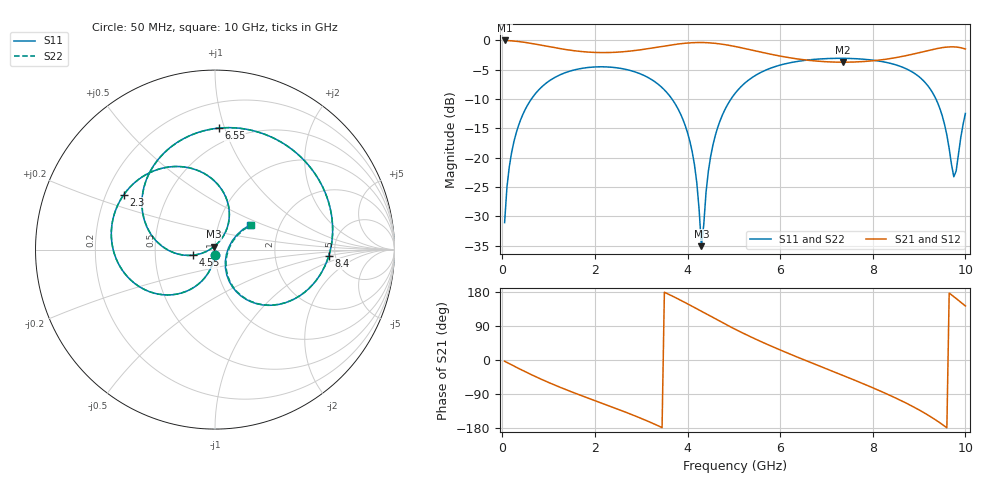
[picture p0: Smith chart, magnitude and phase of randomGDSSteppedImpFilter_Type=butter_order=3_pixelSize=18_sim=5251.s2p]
! freq	dB(S11)	phase(S11)	dB(S12)	phase(S12)
!  dB(S21)	phase(S21)	dB(S22)	phase(S22)
!S-par simulation data
#  GHz  S  DB  R 50
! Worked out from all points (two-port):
!   200 points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, 50 MHz to 10 GHz, reference 50 ohm
!   highest |S21| = -0.01 dB at 50 MHz (marker M1); lowest = -3.7 dB at 7.35 GHz (marker M2)
!   |S21| within 3 dB of the highest: start of sweep to 6.247 GHz; 8.444 GHz to end of sweep
!   lowest |S11| = -35.1 dB at 4.3 GHz (marker M3), VSWR 1.04, Z = 49.4 + j1.65 ohm
!   |S11| at or under -10 dB: start of sweep to 627.7 MHz; 3.665 GHz to 4.938 GHz (1.273 GHz wide, 29.6 % of centre); 9.364 GHz to end of sweep
!   |S22| runs from -35.0 to -3.1 dB; largest |S21 - S12| = 0
!   S11 on the Smith chart (normalised r, x): 50 MHz: 1.00, -0.06; 2.3 GHz: 0.27, +0.26; 4.55 GHz: 0.78, -0.05; 6.55 GHz: 0.38, +0.96; 8.4 GHz: 4.41, -0.52; 10 GHz: 1.41, +0.41
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0.05  -31.03 -93.3  -0.01 -3.2  -0.01 -3.2  -31.03 -93.3
0.2  -19.16 -103.1  -0.07 -12.7  -0.07 -12.7  -19.16 -103.1
0.5  -11.69 -121.7  -0.35 -31.2  -0.35 -31.2  -11.69 -121.7
1.05  -6.71 -152.4  -1.13 -61.9  -1.13 -61.9  -6.71 -152.5
1.75  -4.72 173.7  -1.93 -95.9  -1.93 -95.9  -4.72 173.7
2.3  -4.54 148.9  -2.07 -120.8  -2.07 -120.8  -4.54 148.8
3.4  -7.69 95.4  -1.08 -175.5  -1.08 -175.5  -7.69 95.3
4.05  -17.17 60.7  -0.42 145.0  -0.42 145.0  -17.17 60.6
4.2  -24.25 59.8  -0.37 135.2  -0.37 135.2  -24.25 59.7
4.3  -35.06 109.4  -0.36 128.6  -0.36 128.6  -35.05 109.3
4.55  -17.77 -165.8  -0.46 112.0  -0.46 112.0  -17.77 -166.0
5.05  -8.80 167.2  -1.07 79.9  -1.07 79.9  -8.80 167.0
5.75  -4.86 128.3  -2.28 39.7  -2.28 39.7  -4.86 128.2
6.55  -3.38 88.2  -3.34 -1.2  -3.34 -1.2  -3.39 88.1
6.7  -3.26 81.0  -3.46 -8.6  -3.46 -8.6  -3.26 80.8
7.35  -3.05 49.7  -3.71 -40.4  -3.71 -40.4  -3.05 49.5
8.35  -3.85 -0.5  -3.13 -92.1  -3.13 -92.1  -3.85 -0.6
8.4  -3.95 -3.2  -3.07 -94.9  -3.07 -94.9  -3.95 -3.2
9.3  -9.03 -55.4  -1.53 -153.6  -1.53 -153.6  -9.01 -55.0
9.55  -14.31 -65.9  -1.18 -174.4  -1.18 -174.4  -14.26 -65.0
9.75  -23.24 -23.0  -1.10 167.2  -1.10 167.2  -22.75 -22.6
10  -12.45 35.1  -1.46 142.5  -1.46 142.5  -12.41 34.2
